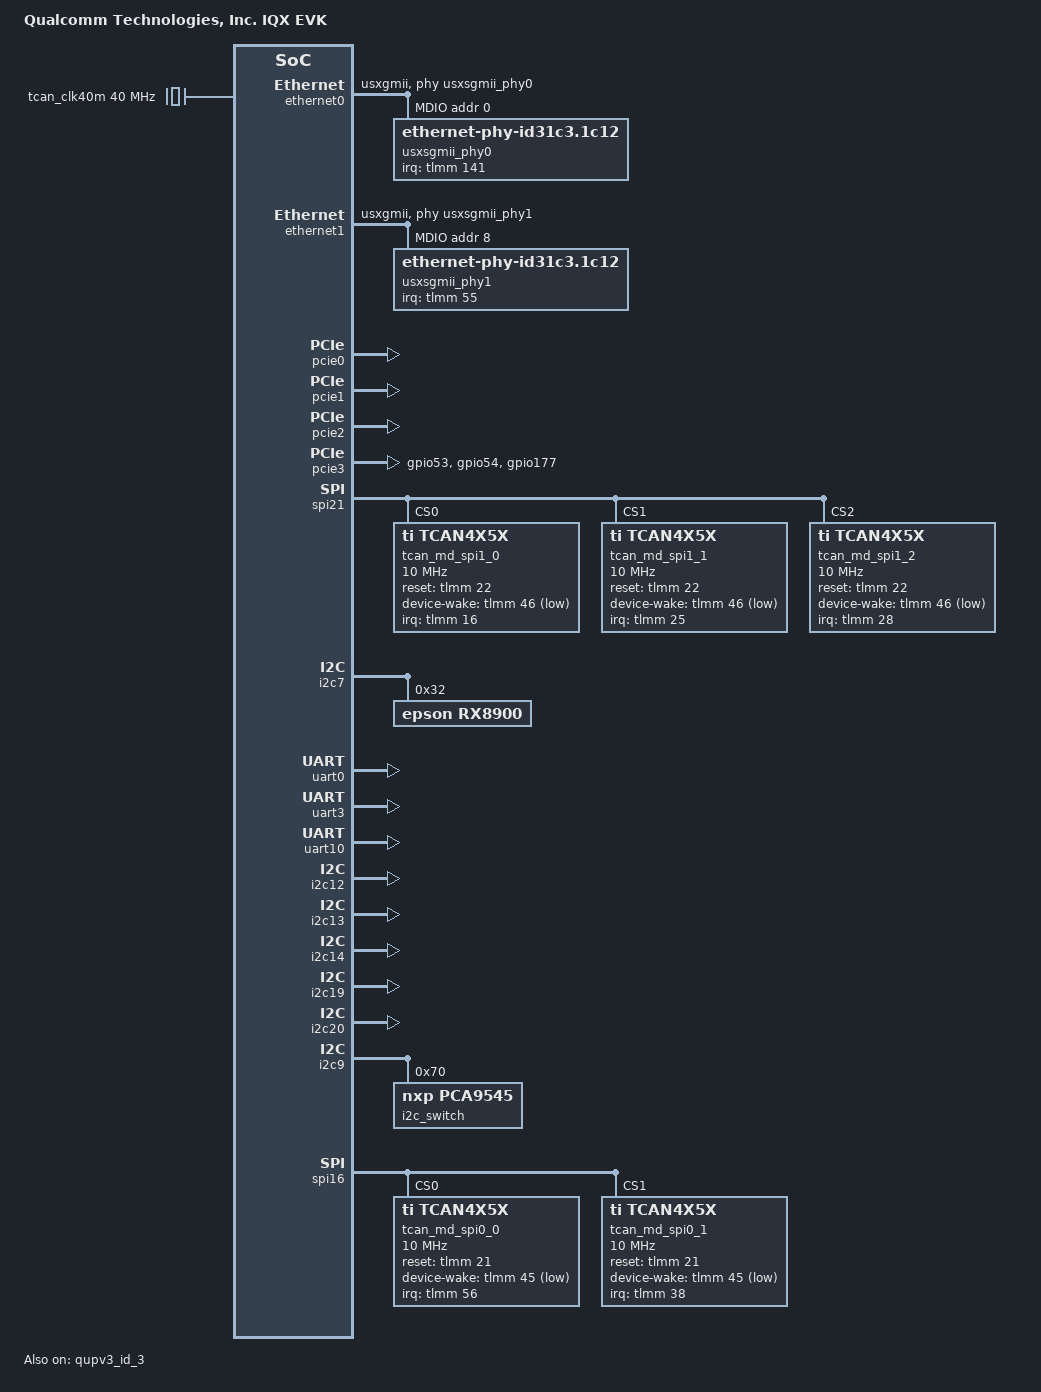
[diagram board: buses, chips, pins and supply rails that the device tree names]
// SPDX-License-Identifier: BSD-3-Clause
/*
 * Copyright (c) Qualcomm Technologies, Inc. and/or its subsidiaries.
 */

/dts-v1/;

#include "sa8x97p.dtsi"
#include "sa8x97p-v2.dtsi"
#include "sa8797p.dtsi"
#include "sa8x97p-non-safe.dtsi"
#include "qcs8797-iqx-evk-pinctrl.dtsi"
#include "sa8797p-cnss.dtsi"

/ {
	model = "Qualcomm Technologies, Inc. IQX EVK";
	compatible = "qcom,qcs8797-iqx-evk";
	qcom,msm-id = <689 0x20000>, <690 0x20000>;
	qcom,board-id = <0x06010025 6>;

	aliases {
		serial2 = &uart17;
		serial3 = &uart0;
		serial5 = &uart3;
		serial6 = &uart10;
		i2c7 = &i2c7;
		i2c12 = &i2c12;
		i2c13 = &i2c13;
		i2c14 = &i2c14;
		i2c19 = &i2c19;
		i2c20 = &i2c20;
		spi16 = &spi16;
		spi21 = &spi21;
	};
};

&xpcs0 {
	/delete-property/ interrupts;
	/delete-property/ interrupt-names;
};

&ethernet0 {
	phy-mode = "usxgmii";
	phy-handle = <&usxsgmii_phy0>;

	mdio {
		compatible = "snps,dwmac-mdio";
		#address-cells = <1>;
		#size-cells = <0>;

		usxsgmii_phy0: phy@0 {
			compatible = "ethernet-phy-id31c3.1c12";
			reg = <0x0>;
			device_type = "ethernet-phy";
			interrupts-extended = <&tlmm 141 IRQ_TYPE_EDGE_FALLING>;
			resets = <&scmi7_rst 0>;
			reset-names = "phy";
			reset-assert-us = <100000>;
			reset-deassert-us = <100000>;
		};
	};
};

&ethernet1 {
	status = "okay";

	phy-mode = "usxgmii";
	phy-handle = <&usxsgmii_phy1>;

	mdio {
		compatible = "snps,dwmac-mdio";
		#address-cells = <1>;
		#size-cells = <0>;

		usxsgmii_phy1: phy@8 {
			compatible = "ethernet-phy-id31c3.1c12";
			reg = <0x8>;
			device_type = "ethernet-phy";
			interrupts-extended = <&tlmm 55 IRQ_TYPE_EDGE_FALLING>;
			resets = <&scmi8_rst 0>;
			reset-names = "phy";
			reset-assert-us = <100000>;
			reset-deassert-us = <100000>;
		};
	};
};

&tlmm {
	pcie3_modem_power_default: pcie3_modem_power_default {
		mux {
			pins = "gpio53";
			function = "gpio";
		};

		config {
			pins = "gpio53";
			drive-strength = <2>;
			output-high;
		};
	};


	pcie3_modem_vph_pwr_default: pcie3_modem_vph_pwr_default {
		mux {
			pins = "gpio54";
			function = "gpio";
		};

		config {
			pins = "gpio54";
			drive-strength = <2>;
			output-high;
		};
	};

	pcie3_modem_rstin_default: pcie3_modem_rstin_default {
		mux {
			pins = "gpio177";
			function = "gpio";
		};

		config {
			pins = "gpio177";
			drive-strength = <2>;
			output-low;
		};
	};
};

&pcie0 {
	power-domains = <&scmi5_pd 0>;
	power-domain-names = "power";
	status = "okay";
};

&pcie1 {
	power-domains = <&scmi6_pd 0>;
	power-domain-names = "power";
	status = "okay";
};

&pcie2 {
	reg = <0x40 0x00000000 0x0 0x10000000>,
		<0x00 0x01b90000 0x0 0x00004000>;
	reg-names = "dbi", "parf";

	interrupts = <GIC_SPI 464 IRQ_TYPE_LEVEL_HIGH>;
	interrupt-names = "global_int";

	interrupt-parent = <&intc>;

	rasdp-off = <0x384>;
	safety-supported;

	power-domains = <&scmi32_pd 0>;
	power-domain-names = "power";
	status = "okay";
};

&pcie3 {
	reg = <0x4 0x00000000 0x0 0x10000000>,
		<0x00 0x01b98000 0x0 0x00004000>;
	reg-names = "dbi", "parf";

	interrupts = <GIC_SPI 465 IRQ_TYPE_LEVEL_HIGH>;
	interrupt-names = "global_int";

	interrupt-parent = <&intc>;

	rasdp-off = <0x37C>;
	safety-supported;

	power-domains = <&scmi33_pd 0>;
	power-domain-names = "power";
	status = "okay";
	pinctrl-names = "default";
	pinctrl-0 = <&pcie3_modem_power_default
			&pcie3_modem_vph_pwr_default
			&pcie3_modem_rstin_default>;
};

&soc {
	qupv3_id_3: geniqup@cc0000 {
		compatible = "qcom,sa8797p-geni-se-qup";
		reg = <0x0 0xcc0000 0x0 0x2000>;
		#address-cells = <2>;
		#size-cells = <2>;
		iommus = <&apps_smmu_0 0x1063 0x0>;
		ranges;
		status = "okay";

		spi21: spi@c80000 {
			compatible = "qcom,sa8797p-geni-spi";
			reg = <0x0 0xc80000 0x0 0x4000>;
			interrupts = <GIC_SPI 312 IRQ_TYPE_LEVEL_HIGH>;
			power-domains = <&scmi10_pd 21>, <&scmi10_dvfs 21>;
			power-domain-names = "power", "perf";

			status = "okay";

		};
	};
};

&i2c7 {
	status = "okay";
	rx8900@32 {
		compatible = "epson,rx8900";
		reg = <0x32>;
		epson,vdet-disable;
		trickle-diode-disable;
		status = "okay";
	};
};

&uart0 {
	status = "okay";
};

&uart3 {
	status = "okay";
};

&uart10 {
	status = "okay";
};

&i2c12 {
	status = "okay";
};

&i2c13 {
	status = "okay";
};

&i2c14 {
	status = "okay";
};

&i2c19 {
	status = "okay";
};

&i2c20 {
	status = "okay";
};


&i2c9 {
	status = "okay";

	i2c_switch@70 {
		compatible = "nxp,pca9545";
		reg = <0x70>;
		#address-cells = <1>;
		#size-cells = <0>;

		i2c@0 {
			reg = <0>;
			#address-cells = <1>;
			#size-cells = <0>;
		};

		i2c@1 {
			reg = <1>;
			#address-cells = <1>;
			#size-cells = <0>;
		};

		i2c@2 {
			reg = <2>;
			#address-cells = <1>;
			#size-cells = <0>;
		};

		i2c@3 {
			reg = <3>;
			#address-cells = <1>;
			#size-cells = <0>;
		};
	};
};


/* MD_SPI1: 3 x TCAN4551 (GPIO102~107 + INT16/25/28) */
&spi21 {
	status = "okay";
	pinctrl-names = "default";
	pinctrl-0 = <&qupv3_se0_3_l0 &qupv3_se0_3_l1
		     &qupv3_se0_3_l2 &qupv3_se0_3_l3
		     &qupv3_se0_3_l4 &qupv3_se0_3_l5>;

	#address-cells = <1>;
	#size-cells = <0>;

	tcan_md_spi1_0: can@0 {
		compatible = "ti,tcan4x5x";
		reg = <0>;
		spi-max-frequency = <10000000>;
		bosch,mram-cfg = <0x0 0 0 8 0 0 8 8>;
		reset-gpios = <&tlmm 22 GPIO_ACTIVE_HIGH>;
		device-wake-gpios = <&tlmm 46 GPIO_ACTIVE_LOW>;

		clocks = <&tcan_clk40m>, <&tcan_clk40m>;
		clock-names = "hclk", "cclk";

		interrupt-parent = <&tlmm>;
		interrupts = <16 IRQ_TYPE_LEVEL_LOW>;
		status = "okay";
	};

	tcan_md_spi1_1: can@1 {
		compatible = "ti,tcan4x5x";
		reg = <1>;
		spi-max-frequency = <10000000>;
		bosch,mram-cfg = <0x0 0 0 8 0 0 8 8>;
		reset-gpios = <&tlmm 22 GPIO_ACTIVE_HIGH>;
		device-wake-gpios = <&tlmm 46 GPIO_ACTIVE_LOW>;

		clocks = <&tcan_clk40m>, <&tcan_clk40m>;
		clock-names = "hclk", "cclk";

		interrupt-parent = <&tlmm>;
		interrupts = <25 IRQ_TYPE_LEVEL_LOW>;
		status = "okay";
	};

	tcan_md_spi1_2: can@2 {
		compatible = "ti,tcan4x5x";
		reg = <2>;
		spi-max-frequency = <10000000>;
		bosch,mram-cfg = <0x0 0 0 8 0 0 8 8>;
		reset-gpios = <&tlmm 22 GPIO_ACTIVE_HIGH>;
		device-wake-gpios = <&tlmm 46 GPIO_ACTIVE_LOW>;

		clocks = <&tcan_clk40m>, <&tcan_clk40m>;
		clock-names = "hclk", "cclk";

		interrupt-parent = <&tlmm>;
		interrupts = <28 IRQ_TYPE_LEVEL_LOW>;
		status = "okay";
	};
};

/* MD_SPI0: 2 x TCAN4551 (GPIO145~149 + INT56/38) */
&spi16 {
	status = "okay";
	pinctrl-names = "default";
	pinctrl-0 = <&qupv3_se2_2_l0 &qupv3_se2_2_l1
		     &qupv3_se2_2_l2 &qupv3_se2_2_l3
		     &qupv3_se2_2_l4>;

	#address-cells = <1>;
	#size-cells = <0>;

	/* Remove existing spidev instance from base dtsi to avoid conflict */
	/delete-node/ spidev@0;

	tcan_md_spi0_0: can@0 {
		compatible = "ti,tcan4x5x";
		reg = <0>;
		spi-max-frequency = <10000000>;
		bosch,mram-cfg = <0x0 0 0 8 0 0 8 8>;
		reset-gpios = <&tlmm 21 GPIO_ACTIVE_HIGH>;
		device-wake-gpios = <&tlmm 45 GPIO_ACTIVE_LOW>;
		clocks = <&tcan_clk40m>, <&tcan_clk40m>;
		clock-names = "hclk", "cclk";
		interrupt-parent = <&tlmm>;
		interrupts = <56 IRQ_TYPE_LEVEL_LOW>;
		status = "okay";
	};

	tcan_md_spi0_1: can@1 {
		compatible = "ti,tcan4x5x";
		reg = <1>;
		spi-max-frequency = <10000000>;
		bosch,mram-cfg = <0x0 0 0 8 0 0 8 8>;
		reset-gpios = <&tlmm 21 GPIO_ACTIVE_HIGH>;
		device-wake-gpios = <&tlmm 45 GPIO_ACTIVE_LOW>;
		clocks = <&tcan_clk40m>, <&tcan_clk40m>;
		clock-names = "hclk", "cclk";
		interrupt-parent = <&tlmm>;
		interrupts = <38 IRQ_TYPE_LEVEL_LOW>;
		status = "okay";
	};
};

&soc {
	tcan_clk40m: tcan-clk40m {
		compatible = "fixed-clock";
		#clock-cells = <0>;
		clock-frequency = <40000000>;
		clock-output-names = "tcan_clk40m";
	};
};
